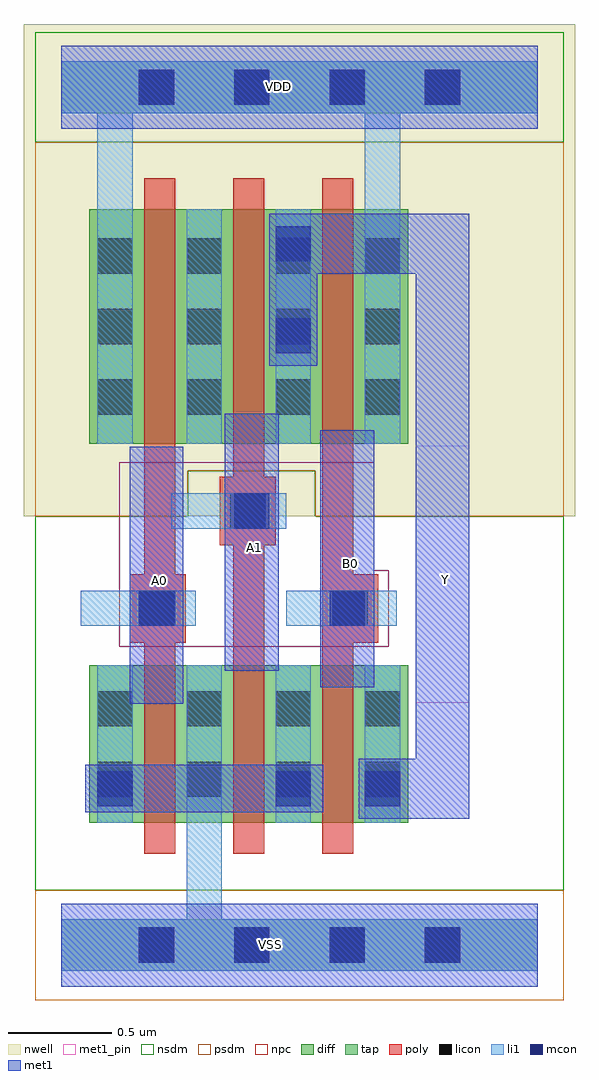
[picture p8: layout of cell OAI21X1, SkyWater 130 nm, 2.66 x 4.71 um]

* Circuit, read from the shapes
.subckt OAI21X1 A0 A1 B0 VDD VSS Y
XM1 VSS A0 n1 VSS sky130_fd_pr__nfet_01v8 w=0.76 l=0.15
XM2 n1 A1 VSS VSS sky130_fd_pr__nfet_01v8 w=0.76 l=0.15
XM3 Y B0 n1 VSS sky130_fd_pr__nfet_01v8 w=0.76 l=0.15
XM4 n2 A0 VDD VDD sky130_fd_pr__pfet_01v8 w=1.13 l=0.15
XM5 Y A1 n2 VDD sky130_fd_pr__pfet_01v8 w=1.13 l=0.15
XM6 VDD B0 Y VDD sky130_fd_pr__pfet_01v8 w=1.13 l=0.15
.ends

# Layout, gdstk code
from math import pi, radians
import gdstk
lib = gdstk.Library(unit=1e-6, precision=1e-09)
def R(c, l, rs):  # rectangles x0, y0, x1, y1
    for r in rs: c.add(gdstk.rectangle(r[:2], r[2:], *l))
def A(c, l, x, y, w, h, nx, ny, dx, dy):  # array of equal rectangles
    R(c, l, [(x+i*dx, y+j*dy, x+i*dx+w, y+j*dy+h) for i in range(nx) for j in range(ny)])
def P(c, l, *ps):  # polygons
    for p in ps: c.add(gdstk.Polygon(p, *l))
nwell = (64, 20)
diff = (65, 20)
tap = (65, 44)
poly = (66, 20)
licon = (66, 44)
li1 = (67, 20)
mcon = (67, 44)
met1_pin = (68, 16)
met1 = (68, 20)
nsdm = (93, 44)
psdm = (94, 20)
npc = (95, 20)

pyl1con_c_cdns_751554744 = lib.new_cell('PYL1CON_C_CDNS_751554744751')
R(pyl1con_c_cdns_751554744, poly, [(-0.135,-0.165,0.135,0.165)])
R(pyl1con_c_cdns_751554744, licon, [(-0.085,-0.085,0.085,0.085)])
R(pyl1con_c_cdns_751554744, npc, [(-0.185,-0.185,0.185,0.185)])

l1m1_c_cdns_751554744750 = lib.new_cell('L1M1_C_CDNS_751554744750$$8')
R(l1m1_c_cdns_751554744750, li1, [(-0.085,-0.165,0.085,0.165)])
R(l1m1_c_cdns_751554744750, mcon, [(-0.085,-0.085,0.085,0.085)])
R(l1m1_c_cdns_751554744750, met1, [(-0.115,-0.145,0.115,0.145)])

c_l1m1_c_cdns_751554744750 = lib.new_cell('L1M1_C_CDNS_751554744750$$9')
R(c_l1m1_c_cdns_751554744750, li1, [(-0.165,-0.085,0.165,0.085)])
R(c_l1m1_c_cdns_751554744750, mcon, [(-0.085,-0.085,0.085,0.085)])
R(c_l1m1_c_cdns_751554744750, met1, [(-0.115,-0.145,0.115,0.145)])

c_l1m1_c_cdns_751554744750_ = lib.new_cell('L1M1_C_CDNS_751554744750$$13')
R(c_l1m1_c_cdns_751554744750_, li1, [(-0.085,-0.165,0.085,0.165)])
R(c_l1m1_c_cdns_751554744750_, mcon, [(-0.085,-0.085,0.085,0.085)])
R(c_l1m1_c_cdns_751554744750_, met1, [(-0.145,-0.115,0.145,0.115)])

oai21x1 = lib.new_cell('OAI21X1')
R(oai21x1, nwell, [(-0.18,2.07,2.48,4.445)])
R(oai21x1, diff, [(0.135,0.59,1.675,1.35), (0.135,2.42,1.675,3.55)])
A(oai21x1, poly, 0.4, 0.44, 0.15, 3.26, 3, 1, 0.43, 0)
A(oai21x1, licon, 0.375, -0.085, 0.17, 0.17, 4, 2, 0.46, 4.14)
A(oai21x1, licon, 0.175, 0.715, 0.17, 0.17, 4, 2, 0.43, 0.34)
A(oai21x1, licon, 0.175, 2.56, 0.17, 0.17, 4, 3, 0.43, 0.34)
R(oai21x1, li1, [(0.175,0.59,0.345,1.35), (1.035,0.59,1.205,1.35), (1.465,0.59,1.635,1.35), (0.605,2.42,0.775,3.55), (1.035,2.42,1.205,3.55)])
P(oai21x1, li1, [(2.3,0.125),(0.775,0.125),(0.775,1.35),(0.605,1.35),(0.605,0.125),(0,0.125),(0,-0.125),(2.3,-0.125)],
  [(2.3,4.265),(0,4.265),(0,4.015),(0.175,4.015),(0.175,2.42),(0.345,2.42),(0.345,4.015),(1.465,4.015),(1.465,2.42),(1.635,2.42),(1.635,4.015),(2.3,4.015)])
A(oai21x1, mcon, 0.375, -0.085, 0.17, 0.17, 4, 2, 0.46, 4.14)
R(oai21x1, met1_pin, [(0.33,1.165,0.59,2.405), (1.71,1.17,1.97,2.41), (1.25,1.245,1.51,2.485), (0.79,1.325,1.05,2.565)])
P(oai21x1, met1, [(1.97,3.53),(1.12,3.53),(1.12,3.38),(1.005,3.38),(1.005,2.94),(1.235,2.94),(1.235,3.24),(1.71,3.24),(1.71,0.9),(1.535,0.9),(1.535,0.61),(1.97,0.61)])
R(oai21x1, nsdm, [(-0.125,3.875,2.425,4.405)])
P(oai21x1, nsdm, [(2.425,2.07),(1.225,2.07),(1.225,2.29),(0.61,2.29),(0.61,2.07),(-0.125,2.07),(-0.125,0.265),(2.425,0.265)])
R(oai21x1, psdm, [(-0.125,-0.265,2.425,0.265)])
P(oai21x1, psdm, [(2.425,3.875),(-0.125,3.875),(-0.125,2.07),(0.61,2.07),(0.61,2.29),(1.225,2.29),(1.225,2.07),(2.425,2.07)])
R(oai21x1, npc, [(0.28,1.44,1.51,2.33)])
oai21x1.add(gdstk.FlexPath([(0.095,1.625),(0.65,1.625)], 0.17, ends="flush", simple_path=True, layer=67, datatype=20))  # li1
oai21x1.add(gdstk.FlexPath([(0.53,2.095),(1.085,2.095)], 0.17, ends="flush", simple_path=True, layer=67, datatype=20))  # li1
oai21x1.add(gdstk.FlexPath([(1.085,1.625),(1.62,1.625)], 0.17, ends="flush", simple_path=True, layer=67, datatype=20))  # li1
oai21x1.add(gdstk.FlexPath([(0,4.14),(2.3,4.14)], 0.25, ends="flush", simple_path=True, layer=65, datatype=44))  # tap
oai21x1.add(gdstk.FlexPath([(0,0),(2.3,0)], 0.25, ends="flush", simple_path=True, layer=65, datatype=44))  # tap
oai21x1.add(gdstk.FlexPath([(1.265,0.755),(0.115,0.755)], 0.23, ends="flush", simple_path=True, layer=68, datatype=20))  # met1
oai21x1.add(gdstk.FlexPath([(1.38,1.245),(1.38,2.485)], 0.26, ends="flush", simple_path=True, layer=68, datatype=20))  # met1
oai21x1.add(gdstk.FlexPath([(0.46,1.165),(0.46,2.405)], 0.26, ends="flush", simple_path=True, layer=68, datatype=20))  # met1
oai21x1.add(gdstk.FlexPath([(0.92,1.325),(0.92,2.565)], 0.26, ends="flush", simple_path=True, layer=68, datatype=20))  # met1
oai21x1.add(gdstk.FlexPath([(0,4.14),(2.3,4.14)], 0.4, ends="flush", simple_path=True, layer=68, datatype=20))  # met1
oai21x1.add(gdstk.FlexPath([(0,0),(2.3,0)], 0.4, ends="flush", simple_path=True, layer=68, datatype=20))  # met1
oai21x1.add(gdstk.FlexPath([(0,0),(2.3,0)], 0.4, ends="flush", simple_path=True, layer=68, datatype=16))  # met1_pin
oai21x1.add(gdstk.FlexPath([(0,4.14),(2.3,4.14)], 0.4, ends="flush", simple_path=True, layer=68, datatype=16))  # met1_pin
oai21x1.add(gdstk.Reference(pyl1con_c_cdns_751554744, (0.465,1.625), rotation=pi, x_reflection=True))
oai21x1.add(gdstk.Reference(pyl1con_c_cdns_751554744, (1.395,1.625), rotation=pi, x_reflection=True))
oai21x1.add(gdstk.Reference(pyl1con_c_cdns_751554744, (0.9,2.095), rotation=pi, x_reflection=True))
oai21x1.add(gdstk.Reference(l1m1_c_cdns_751554744750, (1.12,2.94)))
oai21x1.add(gdstk.Reference(l1m1_c_cdns_751554744750, (1.55,0.755)))
oai21x1.add(gdstk.Reference(l1m1_c_cdns_751554744750, (1.12,3.385)))
oai21x1.add(gdstk.Reference(c_l1m1_c_cdns_751554744750, (0.46,1.625), x_reflection=True))
oai21x1.add(gdstk.Reference(c_l1m1_c_cdns_751554744750, (1.38,1.625), x_reflection=True))
oai21x1.add(gdstk.Reference(c_l1m1_c_cdns_751554744750, (0.92,2.095), x_reflection=True))
oai21x1.add(gdstk.Reference(c_l1m1_c_cdns_751554744750_, (1.12,0.755)))
oai21x1.add(gdstk.Reference(c_l1m1_c_cdns_751554744750_, (0.26,0.755)))
oai21x1.add(gdstk.Label('VSS', (1.01,0.005), layer=68, texttype=5))
oai21x1.add(gdstk.Label('A1', (0.935,1.92), layer=68, texttype=5))
oai21x1.add(gdstk.Label('A0', (0.475,1.76), layer=68, texttype=5))
oai21x1.add(gdstk.Label('B0', (1.395,1.84), layer=68, texttype=5))
oai21x1.add(gdstk.Label('Y', (1.855,1.765), layer=68, texttype=5))
oai21x1.add(gdstk.Label('VDD', (1.05,4.145), layer=68, texttype=5))

lib.write_gds('OAI21X1.gds')
